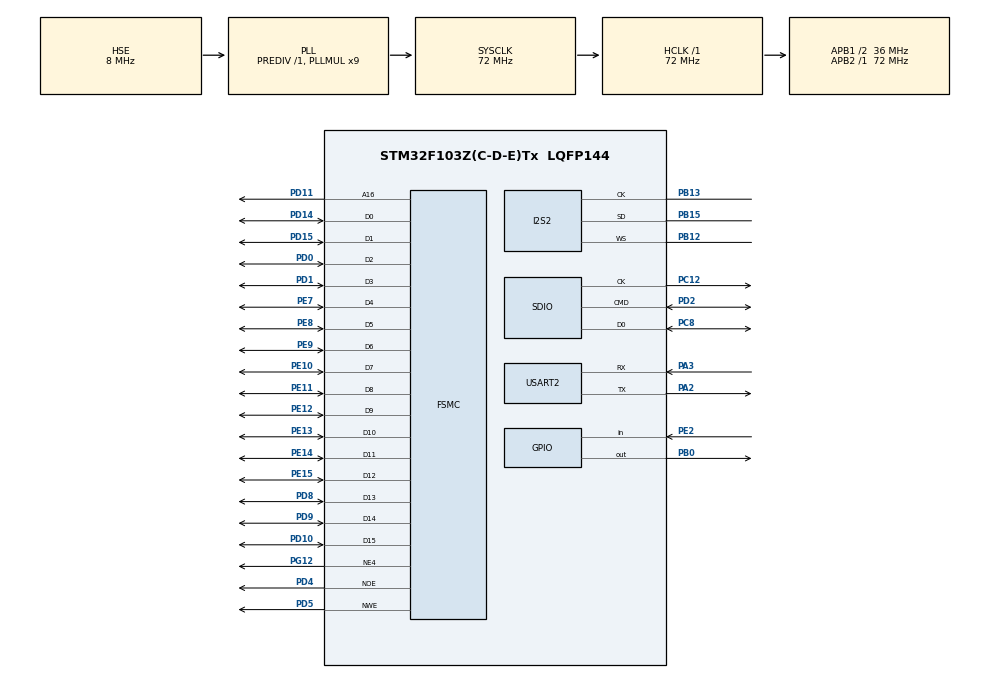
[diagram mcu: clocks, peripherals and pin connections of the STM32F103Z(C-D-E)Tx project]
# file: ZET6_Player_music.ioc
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Dma.Request0=SPI2_TX
Dma.SPI2_TX.0.Direction=DMA_MEMORY_TO_PERIPH
Dma.SPI2_TX.0.Instance=DMA1_Channel5
Dma.SPI2_TX.0.MemDataAlignment=DMA_MDATAALIGN_HALFWORD
Dma.SPI2_TX.0.MemInc=DMA_MINC_ENABLE
Dma.SPI2_TX.0.Mode=DMA_CIRCULAR
Dma.SPI2_TX.0.PeriphDataAlignment=DMA_PDATAALIGN_HALFWORD
Dma.SPI2_TX.0.PeriphInc=DMA_PINC_DISABLE
Dma.SPI2_TX.0.Priority=DMA_PRIORITY_LOW
FATFS.BSP.number=1
FATFS0.BSP.STBoard=false
FATFS0.BSP.api=Unknown
FATFS0.BSP.instance=PE2
FATFS0.BSP.ip=GPIO
FATFS0.BSP.mode=Input
FATFS0.BSP.name=Detect_SDIO
FATFS0.BSP.solution=PE2
I2S2.AudioFreq=I2S_AUDIOFREQ_48K
I2S2.ErrorAudioFreq=-0.26 %
I2S2.Instance=SPI$Index
I2S2.RealAudioFreq=47.872 KHz
I2S2.VirtualMode=I2S_MODE_MASTER
Mcu.Family=STM32F1
Mcu.Name=STM32F103Z(C-D-E)Tx
Mcu.Package=LQFP144
NVIC.DMA1_Channel5_IRQn=true\:0\:0\:false\:false\:true\:false\:true\:true
NVIC.PriorityGroup=NVIC_PRIORITYGROUP_4
NVIC.SPI2_IRQn=true\:0\:0\:false\:false\:true\:true\:true\:true
OSC_IN.Mode=HSE-External-Oscillator
OSC_IN.Signal=RCC_OSC_IN
OSC_OUT.Mode=HSE-External-Oscillator
OSC_OUT.Signal=RCC_OSC_OUT
PA13.Mode=Serial_Wire
PA13.Signal=SYS_JTMS-SWDIO
PA14.Mode=Serial_Wire
PA14.Signal=SYS_JTCK-SWCLK
PA2.Mode=Asynchronous
PA2.Signal=USART2_TX
PA3.Mode=Asynchronous
PA3.Signal=USART2_RX
PB0.Signal=GPIO_Output
PB12.Mode=Half_Duplex_Master_TX
PB12.Signal=I2S2_WS
PB13.Mode=Half_Duplex_Master_TX
PB13.Signal=I2S2_CK
PB15.Mode=Half_Duplex_Master_TX
PB15.Signal=I2S2_SD
PC12.Mode=SD_1_bit
PC12.Signal=SDIO_CK
PC8.Mode=SD_1_bit
PC8.Signal=SDIO_D0
PD0.Signal=FSMC_D2_DA2
PD1.Signal=FSMC_D3_DA3
PD10.Signal=FSMC_D15_DA15
PD11.Signal=FSMC_A16_CLE
PD14.Signal=FSMC_D0_DA0
PD15.Signal=FSMC_D1_DA1
PD2.Mode=SD_1_bit
PD2.Signal=SDIO_CMD
PD4.Signal=FSMC_NOE
PD5.Signal=FSMC_NWE
PD8.Signal=FSMC_D13_DA13
PD9.Signal=FSMC_D14_DA14
PE10.Signal=FSMC_D7_DA7
PE11.Signal=FSMC_D8_DA8
PE12.Signal=FSMC_D9_DA9
PE13.Signal=FSMC_D10_DA10
PE14.Signal=FSMC_D11_DA11
PE15.Signal=FSMC_D12_DA12
PE2.Signal=GPIO_Input
PE7.Signal=FSMC_D4_DA4
PE8.Signal=FSMC_D5_DA5
PE9.Signal=FSMC_D6_DA6
PG12.Mode=NorPsramChipSelect4_1
PG12.Signal=FSMC_NE4
ProjectManager.HeapSize=0x200
ProjectManager.StackSize=0x400
ProjectManager.TargetToolchain=MDK-ARM V5.32
RCC.AHBFreq_Value=72000000
RCC.APB1CLKDivider=RCC_HCLK_DIV2
RCC.APB1Freq_Value=36000000
RCC.APB1TimFreq_Value=72000000
RCC.APB2Freq_Value=72000000
RCC.APB2TimFreq_Value=72000000
RCC.HCLKFreq_Value=72000000
RCC.PLLMUL=RCC_PLL_MUL9
RCC.PLLSourceVirtual=RCC_PLLSOURCE_HSE
RCC.SYSCLKFreq_VALUE=72000000
RCC.SYSCLKSource=RCC_SYSCLKSOURCE_PLLCLK
RCC.USBFreq_Value=72000000
SH.FSMC_A16_CLE.0=FSMC_A16,A16_1
SH.FSMC_D0_DA0.0=FSMC_D0,16b-d1
SH.FSMC_D10_DA10.0=FSMC_D10,16b-d1
SH.FSMC_D11_DA11.0=FSMC_D11,16b-d1
SH.FSMC_D12_DA12.0=FSMC_D12,16b-d1
SH.FSMC_D13_DA13.0=FSMC_D13,16b-d1
SH.FSMC_D14_DA14.0=FSMC_D14,16b-d1
SH.FSMC_D15_DA15.0=FSMC_D15,16b-d1
SH.FSMC_D1_DA1.0=FSMC_D1,16b-d1
SH.FSMC_D2_DA2.0=FSMC_D2,16b-d1
SH.FSMC_D3_DA3.0=FSMC_D3,16b-d1
SH.FSMC_D4_DA4.0=FSMC_D4,16b-d1
SH.FSMC_D5_DA5.0=FSMC_D5,16b-d1
SH.FSMC_D6_DA6.0=FSMC_D6,16b-d1
SH.FSMC_D7_DA7.0=FSMC_D7,16b-d1
SH.FSMC_D8_DA8.0=FSMC_D8,16b-d1
SH.FSMC_D9_DA9.0=FSMC_D9,16b-d1
SH.FSMC_NOE.0=FSMC_NOE,Lcd1
SH.FSMC_NWE.0=FSMC_NWE,Lcd1
USART2.VirtualMode=VM_ASYNC
VP_FATFS_VS_SDIO.Mode=SDIO
board=custom

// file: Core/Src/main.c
/* USER CODE BEGIN Header */
/**
  ******************************************************************************
  * @file           : main.c
  * @brief          : Main program body
  ******************************************************************************
  * @attention
  *
  * Copyright (c) 2026 STMicroelectronics.
  * All rights reserved.
  *
  * This software is licensed under terms that can be found in the LICENSE file
  * in the root directory of this software component.
  * If no LICENSE file comes with this software, it is provided AS-IS.
  ******************************************************************************
  */
/* USER CODE END Header */
#include "main.h"
#include "dma.h"
#include "fatfs.h"
#include "i2s.h"
#include "sdio.h"
#include "usart.h"
#include "gpio.h"
#include "fsmc.h"

/* USER CODE BEGIN Includes */
#include "fatfs.h"
#include "mp3dec.h"    // 引入你的骄傲：Helix 解码库头文件
#include <stdio.h>
#include <string.h>
/* USER CODE END Includes */

/* USER CODE BEGIN PD */
#define ERR_MP3_NONE           0
#define ERR_MP3_INDATA_UNDERFLOW 1
/* USER CODE END PD */

/* USER CODE BEGIN PV */
// =========================================================================
// 全局内存规划 (极其重要：千万不要放在局部变量里，防止栈溢出！)
// =========================================================================
FATFS fs;              /* FatFS file-system work area */
FIL mp3File;           /* MP3 file handle */

// 1. MP3 文件读取缓冲区 (从 SD 卡一次读入这么多数据等待解析)
#define READBUF_SIZE 8192       // Helix 推荐的安全大小
uint8_t readBuf[READBUF_SIZE];

// 2. I2S DMA 乒乓缓冲区 (双缓冲结构)
// 假设一帧 MP3 最多解出 1152*2(双声道) = 2304 个采样点 (short类型,占4608字节)
// 我们开辟两帧的大小作为双缓冲: 2304 * 2 = 4608 个 short = 9216 字节
#define I2S_DMA_BUF_LEN (2304 * 2)
int16_t i2sDmaBuf[I2S_DMA_BUF_LEN];

// 3. Helix 解码器句柄与信息结构体
HMP3Decoder mp3Decoder;
MP3FrameInfo mp3Info;

// 4. 乒乓缓冲状态标志
volatile uint8_t dmaHalfCplt = 0; // 前半段播完标志 (Ping)
volatile uint8_t dmaFullCplt = 0; // 后半段播完标志 (Pong)
/* USER CODE END PV */

void SystemClock_Config(void);
/* USER CODE BEGIN PFP */
extern void Convert_Stereo(short *buffer, int nSamps);
extern void Convert_Mono(short *buffer, int nSamps);
/* USER CODE END PFP */

/* USER CODE BEGIN 0 */

uint8_t BSP_SD_IsDetected(void)
{
  return SD_PRESENT;
}

/* ========================================================================= */
/* ==================== 1. 添加这两个回调函数 (必须放在 main 函数外面) === */
/* ========================================================================= */

// DMA 传输过半中断 (Ping)
void HAL_I2S_TxHalfCpltCallback(I2S_HandleTypeDef *hi2s)
{
    if(hi2s->Instance == SPI2) // 确认是 I2S2 触发的
    {
        dmaHalfCplt = 1; // 通知主循环：赶紧填前半段！
    }
}

// DMA 传输完成中断 (Pong)
void HAL_I2S_TxCpltCallback(I2S_HandleTypeDef *hi2s)
{
    if(hi2s->Instance == SPI2) // 确认是 I2S2 触发的
    {
        dmaFullCplt = 1; // 通知主循环：赶紧填后半段！
    }
}

/* USER CODE END 0 */

int main(void)
{

  /* MCU Configuration--------------------------------------------------------*/

  /* Reset of all peripherals, Initializes the Flash interface and the Systick. */
  HAL_Init();

  /* Configure the system clock */
  SystemClock_Config();

  /* Initialize all configured peripherals */
  MX_GPIO_Init();
  MX_DMA_Init();
  MX_USART2_UART_Init();
  MX_FSMC_Init();
  MX_SDIO_SD_Init();
  MX_FATFS_Init();
  MX_I2S2_Init();
  /* USER CODE BEGIN 2 */

    // 1. 统一全局生命周期的局部变量 (去掉重复的 br)
    UINT br;
    int bytesLeft = 0;
    unsigned char *readPtr;
    int offset = 0;  // 解决 offset undefined
    int err = 0;     // 解决 err undefined

    printf("========================================\r\n");
    printf("ZET6 硬核音频架构: Helix MP3 解码 + I2S 双缓冲测试 (工业级修复版)\r\n");
    printf("========================================\r\n");

    if(f_mount(&fs, "0:/", 1) == FR_OK)
    {
        printf("[OK] SD卡挂载成功！\r\n");

        if(f_open(&mp3File, "0:/2.mp3", FA_READ) == FR_OK)
        {
            printf("[OK] 成功打开 2.mp3，准备解码...\r\n");

            mp3Decoder = MP3InitDecoder();
            if(mp3Decoder == 0) {
                printf("[ERR] 内存不足！Helix 解码器初始化失败。\r\n");
                while(1);
            }
            printf("[OK] Helix 初始化成功！\r\n");

            // 第一次装填弹药库
            f_read(&mp3File, readBuf, READBUF_SIZE, &br);
            bytesLeft = br;
            readPtr = readBuf;

            // =========================================================
            // 预充填 Buffer A (第1帧)
            // =========================================================
            offset = MP3FindSyncWord(readPtr, bytesLeft);
            if(offset >= 0) {
                readPtr += offset; bytesLeft -= offset;
                err = MP3Decode(mp3Decoder, &readPtr, &bytesLeft, i2sDmaBuf, 0);
                if(err == ERR_MP3_NONE) {
                    MP3GetLastFrameInfo(mp3Decoder, &mp3Info);
                    printf("\r\n--- 歌曲情报 ---\r\n采样率: %d Hz, 声道: %d, 输出采样: %d\r\n",
                           mp3Info.samprate, mp3Info.nChans, mp3Info.outputSamps);

                    // 根据声道数调用对应的转换函数 (Helix Subband 输出必须转换!)
                    if (mp3Info.nChans == 2) {
                        Convert_Stereo(i2sDmaBuf, mp3Info.outputSamps);
                    } else if (mp3Info.nChans == 1) {
                        Convert_Mono(i2sDmaBuf, mp3Info.outputSamps);
                    }

                    // 动态同步 I2S 硬件时钟, 匹配当前歌曲采样率
                    HAL_I2S_DeInit(&hi2s2);
                    hi2s2.Init.AudioFreq = mp3Info.samprate;
                    if(HAL_I2S_Init(&hi2s2) == HAL_OK) {
                        printf("[OK] I2S 硬件时钟已同步至: %d Hz\r\n", mp3Info.samprate);
                    } else {
                        printf("[WARN] I2S 时钟同步失败!\r\n");
                    }
                }
            }

            // =========================================================
            // 预充填 Buffer B (第2帧)
            // =========================================================
            if (bytesLeft < 4096) {
                memmove(readBuf, readPtr, bytesLeft);
                f_read(&mp3File, readBuf + bytesLeft, READBUF_SIZE - bytesLeft, &br);
                bytesLeft += br;
                readPtr = readBuf;
            }

            offset = MP3FindSyncWord(readPtr, bytesLeft);
            if (offset >= 0) {
                readPtr += offset; bytesLeft -= offset;
                err = MP3Decode(mp3Decoder, &readPtr, &bytesLeft, i2sDmaBuf + 2304, 0);
                if(err == ERR_MP3_NONE) {
                    MP3GetLastFrameInfo(mp3Decoder, &mp3Info);
                    if (mp3Info.nChans == 2) {
                        Convert_Stereo(i2sDmaBuf + 2304, mp3Info.outputSamps);
                    } else if (mp3Info.nChans == 1) {
                        Convert_Mono(i2sDmaBuf + 2304, mp3Info.outputSamps);
                    }
                }
            }

            printf("[OK] 预充填完毕，开闸!\r\n");
            HAL_I2S_Transmit_DMA(&hi2s2, (uint16_t*)i2sDmaBuf, 4608);
        }
        else
        {
            printf("[ERR] 打开 2.mp3 失败！\r\n");
        }
    }
    else
    {
        printf("[ERR] SD 卡挂载失败！\r\n");
    }

  /* USER CODE END 2 */

  /* Infinite loop */
  /* USER CODE BEGIN WHILE */
  while (1)
  {

      // =================================================================
      // 核心供水站：时刻保持弹药库充足！
      // =================================================================
      if (bytesLeft < 2048)
      {
          // 1. 把剩下的残余数据挪到缓冲区最前面
          memmove(readBuf, readPtr, bytesLeft);

          // 2. 从 SD 卡读取新数据填满缓冲区
          f_read(&mp3File, readBuf + bytesLeft, READBUF_SIZE - bytesLeft, &br);

          if (br == 0 && bytesLeft == 0) {
               printf("[INFO] 歌曲播放结束！\r\n");
               HAL_I2S_DMAStop(&hi2s2);
               break;
          }

          // 3. 指针复位，缓冲区满
          bytesLeft += br;
          readPtr = readBuf;
      }

      // =================================================================
      // DMA 回调处理: 两个标志可能同时置位(若 f_read 耗时过长),
      // 必须在本轮循环内全部处理, 否则 DMA 重放旧数据 -> 噪音
      // =================================================================

      // 填补 Buffer A (前半段)
      if (dmaHalfCplt)
      {
          dmaHalfCplt = 0;

          offset = MP3FindSyncWord(readPtr, bytesLeft);
          if (offset >= 0) {
              readPtr += offset; bytesLeft -= offset;
              err = MP3Decode(mp3Decoder, &readPtr, &bytesLeft, i2sDmaBuf, 0);
              if(err == ERR_MP3_NONE) {
                  MP3GetLastFrameInfo(mp3Decoder, &mp3Info);
                  if (mp3Info.nChans == 2) {
                      Convert_Stereo(i2sDmaBuf, mp3Info.outputSamps);
                  } else if (mp3Info.nChans == 1) {
                      Convert_Mono(i2sDmaBuf, mp3Info.outputSamps);
                  }
              } else {
                  /* 解码失败, 零填充防噪音 */
                  memset(i2sDmaBuf, 0, 2304 * sizeof(int16_t));
              }
          } else {
              /* 未找到同步字, 零填充 */
              memset(i2sDmaBuf, 0, 2304 * sizeof(int16_t));
          }
      }

      // 填补 Buffer B (后半段)
      if (dmaFullCplt)
      {
          dmaFullCplt = 0;

          offset = MP3FindSyncWord(readPtr, bytesLeft);
          if (offset >= 0) {
              readPtr += offset; bytesLeft -= offset;
              err = MP3Decode(mp3Decoder, &readPtr, &bytesLeft, i2sDmaBuf + 2304, 0);
              if(err == ERR_MP3_NONE) {
                  MP3GetLastFrameInfo(mp3Decoder, &mp3Info);
                  if (mp3Info.nChans == 2) {
                      Convert_Stereo(i2sDmaBuf + 2304, mp3Info.outputSamps);
                  } else if (mp3Info.nChans == 1) {
                      Convert_Mono(i2sDmaBuf + 2304, mp3Info.outputSamps);
                  }
              } else {
                  memset(i2sDmaBuf + 2304, 0, 2304 * sizeof(int16_t));
              }
          } else {
              memset(i2sDmaBuf + 2304, 0, 2304 * sizeof(int16_t));
          }
      }

    /* USER CODE END WHILE */

  }
}

void SystemClock_Config(void)
{
  RCC_OscInitTypeDef RCC_OscInitStruct = {0};
  RCC_ClkInitTypeDef RCC_ClkInitStruct = {0};
  RCC_PeriphCLKInitTypeDef PeriphClkInit = {0};

  /** Initializes the RCC Oscillators according to the specified parameters
  * in the RCC_OscInitTypeDef structure.
  */
  RCC_OscInitStruct.OscillatorType = RCC_OSCILLATORTYPE_HSE;
  RCC_OscInitStruct.HSEState = RCC_HSE_ON;
  RCC_OscInitStruct.HSEPredivValue = RCC_HSE_PREDIV_DIV1;
  RCC_OscInitStruct.HSIState = RCC_HSI_ON;
  RCC_OscInitStruct.PLL.PLLState = RCC_PLL_ON;
  RCC_OscInitStruct.PLL.PLLSource = RCC_PLLSOURCE_HSE;
  RCC_OscInitStruct.PLL.PLLMUL = RCC_PLL_MUL9;
  if (HAL_RCC_OscConfig(&RCC_OscInitStruct) != HAL_OK)
  {
    Error_Handler();
  }

  /** Initializes the CPU, AHB and APB buses clocks
  */
  RCC_ClkInitStruct.ClockType = RCC_CLOCKTYPE_HCLK|RCC_CLOCKTYPE_SYSCLK
                              |RCC_CLOCKTYPE_PCLK1|RCC_CLOCKTYPE_PCLK2;
  RCC_ClkInitStruct.SYSCLKSource = RCC_SYSCLKSOURCE_PLLCLK;
  RCC_ClkInitStruct.AHBCLKDivider = RCC_SYSCLK_DIV1;
  RCC_ClkInitStruct.APB1CLKDivider = RCC_HCLK_DIV2;
  RCC_ClkInitStruct.APB2CLKDivider = RCC_HCLK_DIV1;

  if (HAL_RCC_ClockConfig(&RCC_ClkInitStruct, FLASH_LATENCY_2) != HAL_OK)
  {
    Error_Handler();
  }
  PeriphClkInit.PeriphClockSelection = RCC_PERIPHCLK_I2S2;
  PeriphClkInit.I2s2ClockSelection = RCC_I2S2CLKSOURCE_SYSCLK;
  if (HAL_RCCEx_PeriphCLKConfig(&PeriphClkInit) != HAL_OK)
  {
    Error_Handler();
  }
}

/* USER CODE BEGIN 4 */
/* printf redirect to USART2 (Keil MDK-ARM / MicroLib) */
int fputc(int ch, FILE *f)
{
    (void)f;
    HAL_UART_Transmit(&huart2, (uint8_t *)&ch, 1, HAL_MAX_DELAY);
    return ch;
}

/* printf redirect to USART2 (GCC / STM32CubeIDE) */
int __io_putchar(int ch)
{
    HAL_UART_Transmit(&huart2, (uint8_t *)&ch, 1, HAL_MAX_DELAY);
    return ch;
}
/* USER CODE END 4 */

void Error_Handler(void)
{
  __disable_irq();
  while (1)
  {
  }
}
